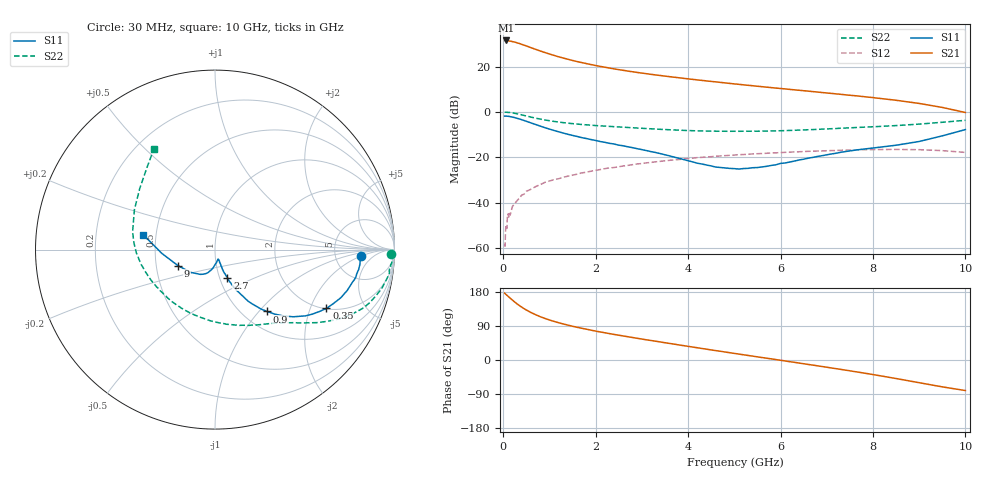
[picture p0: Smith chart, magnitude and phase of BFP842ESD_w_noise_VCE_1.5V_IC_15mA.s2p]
! Infineon Technologies  Discrete & RF Semiconductors
! BFP842ESD
! VCE =  1.5 V,  IC =  15 mA
! Common Emitter S-Parameters:  May 2012
# GHz  S  MA  R  50
!  f  S11  S21  S12  S22
! GHz  MAG  ANG  MAG  ANG  MAG  ANG  MAG  ANG
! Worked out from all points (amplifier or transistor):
!   99 points, 30 MHz to 10 GHz, reference 50 ohm
!   highest |S21| = 31.5 dB at 60 MHz (marker M1)
!   |S21| within 3 dB of that: start of sweep to 575.9 MHz
!   unconditionally stable (mu >= 1): 2.356 GHz to end of sweep
!   at 350 MHz: K = 0.40, MSG = 34.1 dB, |S12| = -38.0 dB
!   at 3.5 GHz: K = 1.08, MAG = 17.0 dB, |S12| = -21.5 dB
!   at 10 GHz: K = 1.91, MAG = 3.3 dB, |S12| = -17.8 dB
!   lowest NFmin = 0.71 dB at 450 MHz
!   S11 on the Smith chart (normalised r, x): 30 MHz: 9.19, -1.99; 350 MHz: 2.02, -2.61; 900 MHz: 1.28, -1.11; 2.7 GHz: 1.09, -0.35; 9 GHz: 0.65, -0.12; 10 GHz: 0.42, +0.09
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0.03  0.8118 -2.6  37.54 176.5  0.0012 177.4  0.9822 -1.3
0.05  0.8108 -4.7  37.21 173.9  0.0024 80.8  0.9872 -2.9
0.06  0.8114 -5.0  37.73 172.9  0.0032 167.8  0.9861 -3.0
0.09  0.8077 -8.0  36.8 169.9  0.0051 85.0  0.9851 -5.8
0.11  0.801 -9.8  37.25 167.3  0.0057 81.6  0.9774 -7.0
0.15  0.7878 -13.2  36.55 163.1  0.0053 77.7  0.9699 -9.9
0.25  0.7509 -20.9  34.73 152.9  0.0096 78.4  0.933 -16.0
0.35  0.7022 -27.8  32.29 143.7  0.0126 71.0  0.8893 -21.4
0.5  0.6239 -36.3  28.57 131.9  0.0178 68.8  0.8162 -27.5
0.6  0.574 -40.7  26.15 125.3  0.0198 68.7  0.7711 -30.6
0.8  0.4887 -47.3  22.13 114.3  0.025 64.6  0.6975 -35.7
0.9  0.4512 -49.8  20.45 109.8  0.028 65.3  0.6667 -37.7
1.2  0.3654 -55.7  16.46 98.3  0.0338 59.9  0.5993 -42.8
1.7  0.2716 -60.9  12.25 83.7  0.0454 55.5  0.5294 -50.5
2.1  0.2229 -64.0  10.11 74.0  0.0538 52.0  0.4946 -57.2
2.7  0.1703 -66.1  7.968 61.3  0.0666 45.3  0.455 -68.0
3.4  0.1207 -69.1  6.362 47.6  0.0816 37.5  0.4145 -83.5
5.1  0.0551 -71.9  4.064 15.6  0.1145 14.9  0.3752 -127.3
6.7  0.0998 -95.1  2.813 -13.5  0.1365 -7.6  0.4094 -163.8
8.5  0.1848 -136.5  1.812 -48.9  0.1493 -38.0  0.501 153.7
9  0.2237 -156.1  1.543 -59.9  0.1475 -48.1  0.5402 140.9
10  0.4093 168.2  0.974 -80.6  0.1283 -69.0  0.6548 121.4
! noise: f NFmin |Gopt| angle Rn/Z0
0.45  0.71  0.03  -24  0.09
0.9  0.71  0.02  -61  0.08
1.5  0.73  0.03  -97  0.08
1.9  0.73  0.04  -116  0.08
2.4  0.73  0.06  -122  0.08
3.5  0.8  0.08  -128  0.08
4  0.83  0.09  -124  0.09
5  0.9  0.13  -112  0.09
5.5  1.01  0.15  -109  0.1
6  1.11  0.15  -106  0.11
